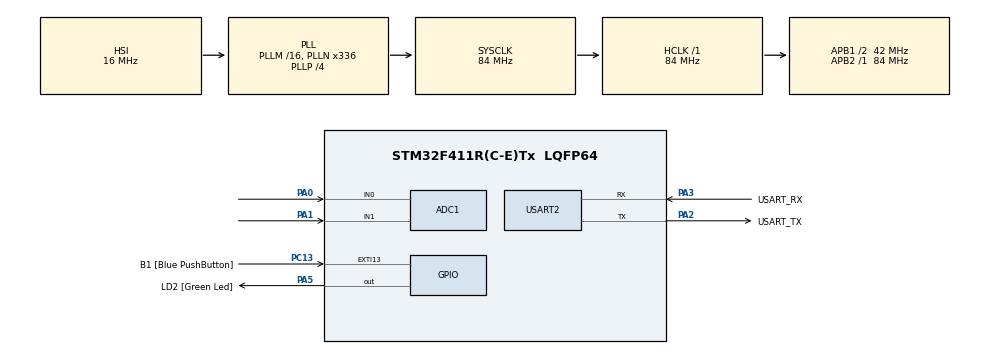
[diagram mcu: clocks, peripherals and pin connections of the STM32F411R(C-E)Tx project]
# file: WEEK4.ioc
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ADC1.Channel-0\#ChannelRegularConversion=ADC_CHANNEL_0
ADC1.Channel-1\#ChannelRegularConversion=ADC_CHANNEL_1
ADC1.Channel-2\#ChannelRegularConversion=ADC_CHANNEL_TEMPSENSOR
ADC1.Channel-3\#ChannelRegularConversion=ADC_CHANNEL_VREFINT
ADC1.ContinuousConvMode=ENABLE
ADC1.DMAContinuousRequests=ENABLE
ADC1.NbrOfConversion=4
ADC1.NbrOfConversionFlag=1
ADC1.Rank-0\#ChannelRegularConversion=1
ADC1.Rank-1\#ChannelRegularConversion=2
ADC1.Rank-2\#ChannelRegularConversion=3
ADC1.Rank-3\#ChannelRegularConversion=4
ADC1.SamplingTime-0\#ChannelRegularConversion=ADC_SAMPLETIME_480CYCLES
ADC1.SamplingTime-1\#ChannelRegularConversion=ADC_SAMPLETIME_480CYCLES
ADC1.SamplingTime-2\#ChannelRegularConversion=ADC_SAMPLETIME_480CYCLES
ADC1.SamplingTime-3\#ChannelRegularConversion=ADC_SAMPLETIME_480CYCLES
ADC1.ScanConvMode=ENABLE
ADC1.master=1
Dma.ADC1.0.Direction=DMA_PERIPH_TO_MEMORY
Dma.ADC1.0.FIFOMode=DMA_FIFOMODE_DISABLE
Dma.ADC1.0.Instance=DMA2_Stream0
Dma.ADC1.0.MemDataAlignment=DMA_MDATAALIGN_WORD
Dma.ADC1.0.MemInc=DMA_MINC_ENABLE
Dma.ADC1.0.Mode=DMA_CIRCULAR
Dma.ADC1.0.PeriphDataAlignment=DMA_PDATAALIGN_WORD
Dma.ADC1.0.PeriphInc=DMA_PINC_DISABLE
Dma.ADC1.0.Priority=DMA_PRIORITY_LOW
Dma.Request0=ADC1
Mcu.Family=STM32F4
Mcu.Name=STM32F411R(C-E)Tx
Mcu.Package=LQFP64
NVIC.DMA2_Stream0_IRQn=true\:0\:0\:false\:false\:true\:false\:true
NVIC.EXTI15_10_IRQn=true\:0\:0\:false\:false\:true\:true\:true
NVIC.PriorityGroup=NVIC_PRIORITYGROUP_0
PA0-WKUP.Signal=ADCx_IN0
PA1.Signal=ADCx_IN1
PA13.GPIO_Label=TMS
PA13.Mode=Serial_Wire
PA13.Signal=SYS_JTMS-SWDIO
PA14.GPIO_Label=TCK
PA14.Mode=Serial_Wire
PA14.Signal=SYS_JTCK-SWCLK
PA2.GPIO_Label=USART_TX
PA2.Mode=Asynchronous
PA2.Signal=USART2_TX
PA3.GPIO_Label=USART_RX
PA3.Mode=Asynchronous
PA3.Signal=USART2_RX
PA5.GPIO_Label=LD2 [Green Led]
PA5.Signal=GPIO_Output
PB3.GPIO_Label=SWO
PB3.Signal=SYS_JTDO-SWO
PC13-ANTI_TAMP.GPIO_Label=B1 [Blue PushButton]
PC13-ANTI_TAMP.GPIO_ModeDefaultEXTI=GPIO_MODE_IT_RISING_FALLING
PC13-ANTI_TAMP.GPIO_PuPd=GPIO_PULLUP
PC13-ANTI_TAMP.Signal=GPXTI13
PC14-OSC32_IN.Mode=LSE-External-Oscillator
PC14-OSC32_IN.Signal=RCC_OSC32_IN
PC15-OSC32_OUT.Mode=LSE-External-Oscillator
PC15-OSC32_OUT.Signal=RCC_OSC32_OUT
PH0\ -\ OSC_IN.Mode=HSE-External-Clock-Source
PH0\ -\ OSC_IN.Signal=RCC_OSC_IN
PH1\ -\ OSC_OUT.Mode=HSE-External-Clock-Source
PH1\ -\ OSC_OUT.Signal=RCC_OSC_OUT
ProjectManager.HeapSize=0x200
ProjectManager.StackSize=0x400
ProjectManager.TargetToolchain=STM32CubeIDE
RCC.48MHZClocksFreq_Value=84000000
RCC.AHBFreq_Value=84000000
RCC.APB1CLKDivider=RCC_HCLK_DIV2
RCC.APB1Freq_Value=42000000
RCC.APB1TimFreq_Value=84000000
RCC.APB2Freq_Value=84000000
RCC.APB2TimFreq_Value=84000000
RCC.CortexFreq_Value=84000000
RCC.FLatency-AdvancedSettings=FLASH_LATENCY_2
RCC.HCLKFreq_Value=84000000
RCC.HSE_VALUE=8000000
RCC.HSI_VALUE=16000000
RCC.PLLN=336
RCC.PLLP=RCC_PLLP_DIV4
RCC.SYSCLKFreq_VALUE=84000000
RCC.SYSCLKSource=RCC_SYSCLKSOURCE_PLLCLK
RCC.VCOOutputFreq_Value=336000000
SH.ADCx_IN0.0=ADC1_IN0,IN0
SH.ADCx_IN1.0=ADC1_IN1,IN1
USART2.VirtualMode=VM_ASYNC
VP_ADC1_TempSens_Input.Mode=IN-TempSens
VP_ADC1_Vref_Input.Mode=IN-Vrefint
board=NUCLEO-F411RE

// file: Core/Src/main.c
/* USER CODE BEGIN Header */
/**
  ******************************************************************************
  * @file           : main.c
  * @brief          : Main program body
  ******************************************************************************
  * @attention
  *
  * <h2><center>&copy; Copyright (c) 2021 STMicroelectronics.
  * All rights reserved.</center></h2>
  *
  * This software component is licensed by ST under BSD 3-Clause license,
  * the "License"; You may not use this file except in compliance with the
  * License. You may obtain a copy of the License at:
  *                        opensource.org/licenses/BSD-3-Clause
  *
  ******************************************************************************
  */
/* USER CODE END Header */
#include "main.h"

ADC_HandleTypeDef hadc1;
DMA_HandleTypeDef hdma_adc1;

UART_HandleTypeDef huart2;

/* USER CODE BEGIN PV */
uint32_t ADCData[4] = {0};
uint32_t RandomTime = 0;
uint32_t TimeStamp = 0;
uint32_t BeginTime = 0;
uint32_t EndTime = 0;
uint32_t Ans = 0 ;
uint8_t Int = 0;
uint8_t A = 0;
uint32_t ButtonTimeStamp = 0;
/* USER CODE END PV */

void SystemClock_Config(void);
static void MX_GPIO_Init(void);
static void MX_DMA_Init(void);
static void MX_USART2_UART_Init(void);
static void MX_ADC1_Init(void);

int main(void)
{

  /* MCU Configuration--------------------------------------------------------*/

  /* Reset of all peripherals, Initializes the Flash interface and the Systick. */
  HAL_Init();

  /* Configure the system clock */
  SystemClock_Config();

  /* Initialize all configured peripherals */
  MX_GPIO_Init();
  MX_DMA_Init();
  MX_USART2_UART_Init();
  MX_ADC1_Init();
  /* USER CODE BEGIN 2 */
  HAL_ADC_Start_DMA(&hadc1, ADCData, 4);
  HAL_GPIO_WritePin(LD2_GPIO_Port, LD2_Pin, SET);
  /* USER CODE END 2 */

  /* Infinite loop */
  /* USER CODE BEGIN WHILE */
  while (1)
  {
	  if(Int == 1)
	  {
		  if(HAL_GetTick() - TimeStamp >= RandomTime)
			  {
				  HAL_GPIO_WritePin(LD2_GPIO_Port, LD2_Pin, SET);
				  BeginTime = HAL_GetTick();
				  Int = 2;
			  }

	  }

    /* USER CODE END WHILE */

  }
}

void SystemClock_Config(void)
{
  RCC_OscInitTypeDef RCC_OscInitStruct = {0};
  RCC_ClkInitTypeDef RCC_ClkInitStruct = {0};

  /** Configure the main internal regulator output voltage
  */
  __HAL_RCC_PWR_CLK_ENABLE();
  __HAL_PWR_VOLTAGESCALING_CONFIG(PWR_REGULATOR_VOLTAGE_SCALE1);
  /** Initializes the RCC Oscillators according to the specified parameters
  * in the RCC_OscInitTypeDef structure.
  */
  RCC_OscInitStruct.OscillatorType = RCC_OSCILLATORTYPE_HSI;
  RCC_OscInitStruct.HSIState = RCC_HSI_ON;
  RCC_OscInitStruct.HSICalibrationValue = RCC_HSICALIBRATION_DEFAULT;
  RCC_OscInitStruct.PLL.PLLState = RCC_PLL_ON;
  RCC_OscInitStruct.PLL.PLLSource = RCC_PLLSOURCE_HSI;
  RCC_OscInitStruct.PLL.PLLM = 16;
  RCC_OscInitStruct.PLL.PLLN = 336;
  RCC_OscInitStruct.PLL.PLLP = RCC_PLLP_DIV4;
  RCC_OscInitStruct.PLL.PLLQ = 4;
  if (HAL_RCC_OscConfig(&RCC_OscInitStruct) != HAL_OK)
  {
    Error_Handler();
  }
  /** Initializes the CPU, AHB and APB buses clocks
  */
  RCC_ClkInitStruct.ClockType = RCC_CLOCKTYPE_HCLK|RCC_CLOCKTYPE_SYSCLK
                              |RCC_CLOCKTYPE_PCLK1|RCC_CLOCKTYPE_PCLK2;
  RCC_ClkInitStruct.SYSCLKSource = RCC_SYSCLKSOURCE_PLLCLK;
  RCC_ClkInitStruct.AHBCLKDivider = RCC_SYSCLK_DIV1;
  RCC_ClkInitStruct.APB1CLKDivider = RCC_HCLK_DIV2;
  RCC_ClkInitStruct.APB2CLKDivider = RCC_HCLK_DIV1;

  if (HAL_RCC_ClockConfig(&RCC_ClkInitStruct, FLASH_LATENCY_2) != HAL_OK)
  {
    Error_Handler();
  }
}

static void MX_ADC1_Init(void)
{

  ADC_ChannelConfTypeDef sConfig = {0};

  /** Configure the global features of the ADC (Clock, Resolution, Data Alignment and number of conversion)
  */
  hadc1.Instance = ADC1;
  hadc1.Init.ClockPrescaler = ADC_CLOCK_SYNC_PCLK_DIV4;
  hadc1.Init.Resolution = ADC_RESOLUTION_12B;
  hadc1.Init.ScanConvMode = ENABLE;
  hadc1.Init.ContinuousConvMode = ENABLE;
  hadc1.Init.DiscontinuousConvMode = DISABLE;
  hadc1.Init.ExternalTrigConvEdge = ADC_EXTERNALTRIGCONVEDGE_NONE;
  hadc1.Init.ExternalTrigConv = ADC_SOFTWARE_START;
  hadc1.Init.DataAlign = ADC_DATAALIGN_RIGHT;
  hadc1.Init.NbrOfConversion = 4;
  hadc1.Init.DMAContinuousRequests = ENABLE;
  hadc1.Init.EOCSelection = ADC_EOC_SINGLE_CONV;
  if (HAL_ADC_Init(&hadc1) != HAL_OK)
  {
    Error_Handler();
  }
  /** Configure for the selected ADC regular channel its corresponding rank in the sequencer and its sample time.
  */
  sConfig.Channel = ADC_CHANNEL_0;
  sConfig.Rank = 1;
  sConfig.SamplingTime = ADC_SAMPLETIME_480CYCLES;
  if (HAL_ADC_ConfigChannel(&hadc1, &sConfig) != HAL_OK)
  {
    Error_Handler();
  }
  /** Configure for the selected ADC regular channel its corresponding rank in the sequencer and its sample time.
  */
  sConfig.Channel = ADC_CHANNEL_1;
  sConfig.Rank = 2;
  if (HAL_ADC_ConfigChannel(&hadc1, &sConfig) != HAL_OK)
  {
    Error_Handler();
  }
  /** Configure for the selected ADC regular channel its corresponding rank in the sequencer and its sample time.
  */
  sConfig.Channel = ADC_CHANNEL_TEMPSENSOR;
  sConfig.Rank = 3;
  if (HAL_ADC_ConfigChannel(&hadc1, &sConfig) != HAL_OK)
  {
    Error_Handler();
  }
  /** Configure for the selected ADC regular channel its corresponding rank in the sequencer and its sample time.
  */
  sConfig.Channel = ADC_CHANNEL_VREFINT;
  sConfig.Rank = 4;
  if (HAL_ADC_ConfigChannel(&hadc1, &sConfig) != HAL_OK)
  {
    Error_Handler();
  }

}

static void MX_USART2_UART_Init(void)
{

  huart2.Instance = USART2;
  huart2.Init.BaudRate = 115200;
  huart2.Init.WordLength = UART_WORDLENGTH_8B;
  huart2.Init.StopBits = UART_STOPBITS_1;
  huart2.Init.Parity = UART_PARITY_NONE;
  huart2.Init.Mode = UART_MODE_TX_RX;
  huart2.Init.HwFlowCtl = UART_HWCONTROL_NONE;
  huart2.Init.OverSampling = UART_OVERSAMPLING_16;
  if (HAL_UART_Init(&huart2) != HAL_OK)
  {
    Error_Handler();
  }

}

static void MX_DMA_Init(void)
{

  /* DMA controller clock enable */
  __HAL_RCC_DMA2_CLK_ENABLE();

  /* DMA interrupt init */
  /* DMA2_Stream0_IRQn interrupt configuration */
  HAL_NVIC_SetPriority(DMA2_Stream0_IRQn, 0, 0);
  HAL_NVIC_EnableIRQ(DMA2_Stream0_IRQn);

}

static void MX_GPIO_Init(void)
{
  GPIO_InitTypeDef GPIO_InitStruct = {0};

  /* GPIO Ports Clock Enable */
  __HAL_RCC_GPIOC_CLK_ENABLE();
  __HAL_RCC_GPIOH_CLK_ENABLE();
  __HAL_RCC_GPIOA_CLK_ENABLE();
  __HAL_RCC_GPIOB_CLK_ENABLE();

  /*Configure GPIO pin Output Level */
  HAL_GPIO_WritePin(LD2_GPIO_Port, LD2_Pin, GPIO_PIN_RESET);

  /*Configure GPIO pin : B1_Pin */
  GPIO_InitStruct.Pin = B1_Pin;
  GPIO_InitStruct.Mode = GPIO_MODE_IT_RISING_FALLING;
  GPIO_InitStruct.Pull = GPIO_PULLUP;
  HAL_GPIO_Init(B1_GPIO_Port, &GPIO_InitStruct);

  /*Configure GPIO pin : LD2_Pin */
  GPIO_InitStruct.Pin = LD2_Pin;
  GPIO_InitStruct.Mode = GPIO_MODE_OUTPUT_PP;
  GPIO_InitStruct.Pull = GPIO_NOPULL;
  GPIO_InitStruct.Speed = GPIO_SPEED_FREQ_LOW;
  HAL_GPIO_Init(LD2_GPIO_Port, &GPIO_InitStruct);

  /* EXTI interrupt init*/
  HAL_NVIC_SetPriority(EXTI15_10_IRQn, 0, 0);
  HAL_NVIC_EnableIRQ(EXTI15_10_IRQn);

}

/* USER CODE BEGIN 4 */
void HAL_GPIO_EXTI_Callback(uint16_t GPIO_Pin)
{
	if(GPIO_Pin == GPIO_PIN_13)
	{
		if(Int == 0)
		{
			A = 1;
			HAL_GPIO_WritePin(LD2_GPIO_Port, LD2_Pin, RESET);
			RandomTime = 1000 +((22695477* ADCData[0]) +ADCData[1])% 10000;
			Int = 1;
			TimeStamp = HAL_GetTick();
		}
		else if(Int == 2)
		{
			 A = 3;
			EndTime = HAL_GetTick();
			Ans = EndTime - BeginTime;
			Int = 0;
		}
	}

}
/* USER CODE END 4 */

void Error_Handler(void)
{
  __disable_irq();
  while (1)
  {
  }
}

/************************ (C) COPYRIGHT STMicroelectronics *****END OF FILE****/
